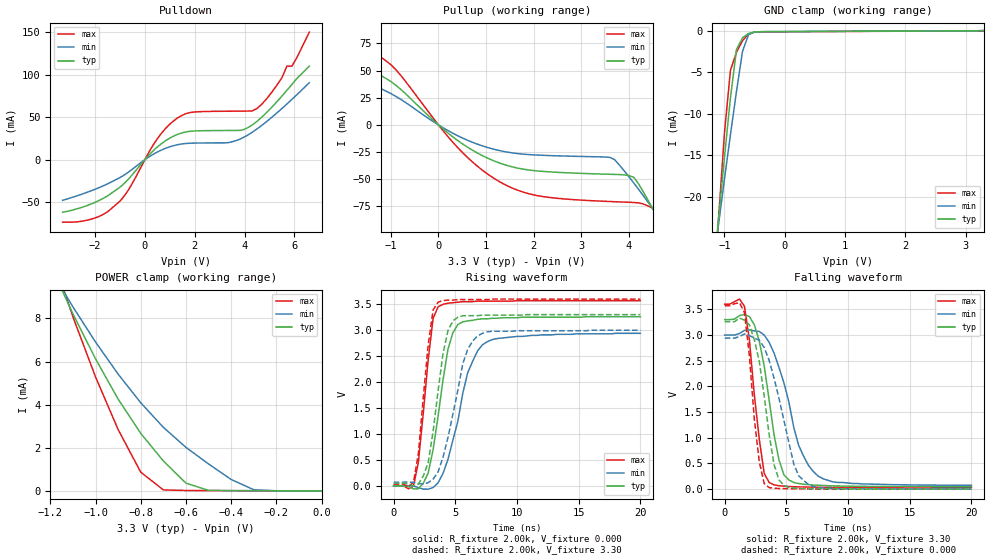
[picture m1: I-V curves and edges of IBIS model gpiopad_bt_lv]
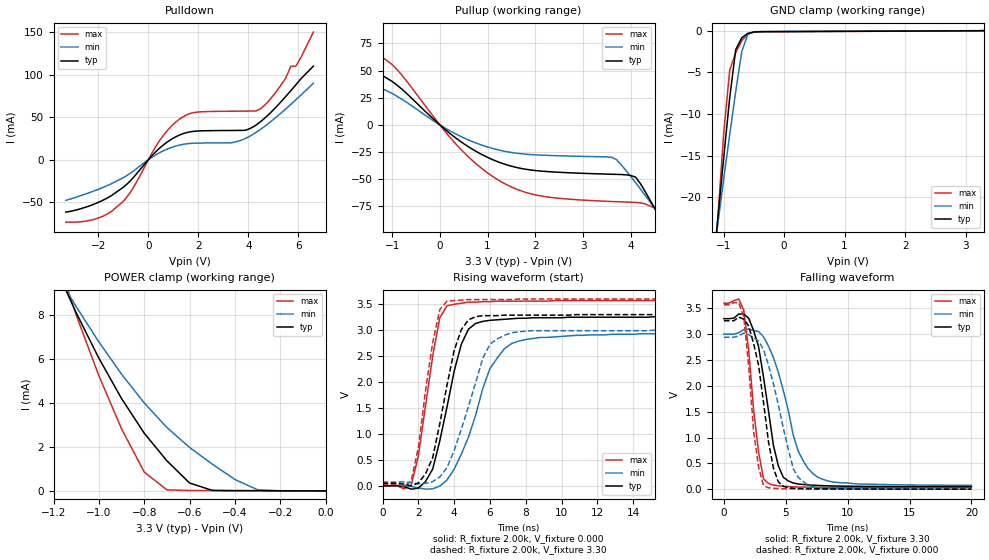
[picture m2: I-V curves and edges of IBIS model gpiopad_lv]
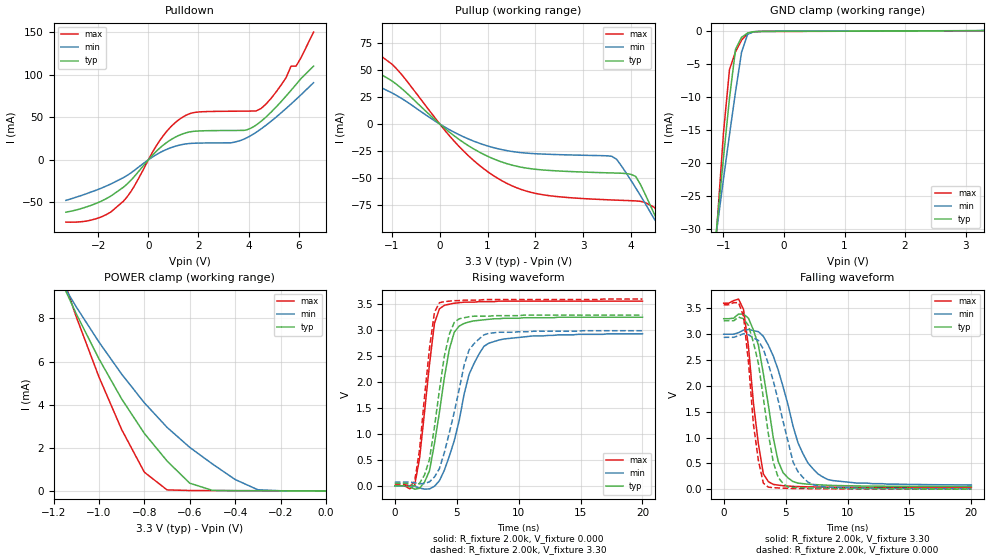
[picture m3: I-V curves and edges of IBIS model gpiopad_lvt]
| IBIS file m5603t00.ibs created by s2ibis2 version 1.1
| North Carolina State University Electronics Research Laboratory  1995
[IBIS ver]   2.1
[File name]   m5603t00.ibs
[File Rev]   1.2
[Date]   April 20, 2006
[Source]   Lars Snith
[Notes]   Property of Atmel Corporation
[Disclaimer] (C) Copyright ATMEL Norway 2006 Atmel Norway makes no warranty
                 for the use of its products, other than those explicitly
                 stated in the Company's standard warranty which is detailed in
                 Atmel's Terms and Conditions located on the Company's web
                 site. The Company assumes no responsibility for any errors
                 which may appear in this document. The user is granted this
                 license only to use the IBIS model and is not granted rights
                 to sell, load, rent, lease or license the IBIS model in whole
                 or in part, or in modified form to anyone other than user.
                 User may modify the IBIS model to suit its specific
                 applications but rights to derivative works and such
                 modifications shall belong to Atmel Norway. This IBIS model is
                 provided on an \"AS IS\" basis and Atmel Norway makes
                 absolutely no warranty with respect to the information
                 contained herein.
[Copyright]   Copyright (c) 2006 by ATMEL Norway
|   Component atmega2560_33_tqfp100
[Component]   atmega2560_33_tqfp100
[Manufacturer]   Atmel Corp.
[Package]
| variable   typ   min   max
R_pkg   19.00m   16.90m   21.20m
L_pkg   1.20nH   1.08nH   1.31nH
C_pkg   0.27pF   0.27pF   0.27pF
[Pin]  signal_name   model_name   R_pin   L_pin   C_pin
1   PG5   gpiopad_lv
| dg5  dg5   dummy
| eng5 eng5   dummy
2   PE0   gpiopad_lv
| de0  de0   dummy
| ene0 ene0   dummy
3   PE1   gpiopad_lv
| de1  de1   dummy
| ene1 ene1   dummy
4   PE2   gpiopad_lv
| de2  de2   dummy
| ene2 ene2   dummy
5   PE3   gpiopad_lv
| de3  de3   dummy
| ene3 ene3   dummy
6   PE4   gpiopad_lv
| de4  de4   dummy
| ene4 ene4   dummy
7   PE5   gpiopad_lv
| de5  de5   dummy
| ene5 ene5   dummy
8   PE6   gpiopad_lv
| de6  de6   dummy
| ene6 ene6   dummy
9   PE7   gpiopad_lv
| de7  de7   dummy
| ene7 ene7   dummy
10   VCC   POWER
11   GND   GND
12   PH0   gpiopad_lv
| dh0  dh0   dummy
| enh0 enh0   dummy
13   PH1   gpiopad_lv
| dh1  dh1   dummy
| enh1 enh1   dummy
14   PH2   gpiopad_lv
| dh2  dh2   dummy
| enh2 enh2   dummy
15   PH3   gpiopad_lv
| dh3  dh3   dummy
| enh3 enh3   dummy
16   PH4   gpiopad_lv
| dh4  dh4   dummy
| enh4 enh4   dummy
17   PH5   gpiopad_lv
| dh5  dh5   dummy
| enh5 enh5   dummy
18   PH6   gpiopad_lv
| dh6  dh6   dummy
| enh6 enh6   dummy
19   PB0   gpiopad_lv
| db0  db0   dummy
| enb0 enb0   dummy
20   PB1   gpiopad_lv
| db1  db1   dummy
| enb1 enb1   dummy
21   PB2   gpiopad_lv
| db2  db2   dummy
| enb2 enb2   dummy
22   PB3   gpiopad_lv
| db3  db3   dummy
| enb3 enb3   dummy
23   PB4   gpiopad_lv
| db4  db4   dummy
| enb4 enb4   dummy
24   PB5   gpiopad_lv
| db5  db5   dummy
| enb5 enb5   dummy
25   PB6   gpiopad_lv
| db6  db6   dummy
| enb6 enb6   dummy
26   PB7   gpiopad_lv
| db7  db7   dummy
| enb7 enb7   dummy
27   PH7   gpiopad_lv
| dh7  dh7   dummy
| enh7 enh7   dummy
28   PG3   gpiopad_lv
| dg3  dg3   dummy
| eng3 eng3   dummy
29   PG4   gpiopad_lv
| dg4  dg4   dummy
| eng4 eng4   dummy
30   RESET   gprstpad2
31   VCC   POWER
32   GND   GND
33   XTAL2   xtalpad_lv_ld_fullsw
| dx2  dx2   dummy
| enx2 enx2   dummy
34   XTAL1   xtalpad_lv_ld
| dx1  dx1   dummy
| enx1 enx1   dummy
35   PL0   gpiopad_lv
| dl0  dl0   dummy
| enl0 enl0   dummy
36   PL1   gpiopad_lv
| dl1  dl1   dummy
| enl1 enl1   dummy
37   PL2   gpiopad_lv
| dl2  dl2   dummy
| enl2 enl2   dummy
38   PL3   gpiopad_lv
| dl3  dl3   dummy
| enl3 enl3   dummy
39   PL4   gpiopad_lv
| dl4  dl4   dummy
| enl4 enl4   dummy
40   PL5   gpiopad_lv
| dl5  dl5   dummy
| enl5 enl5   dummy
41   PL6   gpiopad_lv
| dl6  dl6   dummy
| enl6 enl6   dummy
42   PL7   gpiopad_lv
| dl7  dl7   dummy
| enl7 enl7   dummy
43   PD0   gpiopad_lvt
| dd0  dd0   dummy
| end0 end0   dummy
44   PD1   gpiopad_lvt
| dd1  dd1   dummy
| end1 end1   dummy
45   PD2   gpiopad_lv
| dd2  dd2   dummy
| end2 end2   dummy
46   PD3   gpiopad_lv
| dd3  dd3   dummy
| end3 end3   dummy
47   PD4   gpiopad_lv
| dd4  dd4   dummy
| end4 end4   dummy
48   PD5   gpiopad_lv
| dd5  dd5   dummy
| end5 end5   dummy
49   PD6   gpiopad_lv
| dd6  dd6   dummy
| end6 end6   dummy
50   PD7   gpiopad_lv
| dd7  dd7   dummy
| end7 end7   dummy
51   PG0   gpiopad_lv
| dg0  dg0   dummy
| eng0 eng0   dummy
52   PG1   gpiopad_lv
| dg1  dg1   dummy
| eng1 eng1   dummy
53   PC0   gpiopad_lv
| dc0  dc0   dummy
| enc0 enc0   dummy
54   PC1   gpiopad_lv
| dc1  dc1   dummy
| enc1 enc1   dummy
55   PC2   gpiopad_lv
| dc2  dc2   dummy
| enc2 enc2   dummy
56   PC3   gpiopad_lv
| dc3  dc3   dummy
| enc3 enc3   dummy
57   PC4   gpiopad_lv
| dc4  dc4   dummy
| enc4 enc4   dummy
58   PC5   gpiopad_lv
| dc5  dc5   dummy
| enc5 enc5   dummy
59   PC6   gpiopad_lv
| dc6  dc6   dummy
| enc6 enc6   dummy
60   PC7   gpiopad_lv
| dc7  dc7   dummy
| enc7 enc7   dummy
61   VCC   POWER
62   GND   GND
63   PJ0   gpiopad_lv
| dj0  dj0   dummy
| enj0 enj0   dummy
64   PJ1   gpiopad_lv
| dj1  dj1   dummy
| enj1 enj1   dummy
65   PJ2   gpiopad_lv
| dj2  dj2   dummy
| enj2 enj2   dummy
66   PJ3   gpiopad_lv
| dj3  dj3   dummy
| enj3 enj3   dummy
67   PJ4   gpiopad_lv
| dj4  dj4   dummy
| enj4 enj4   dummy
68   PJ5   gpiopad_lv
| dj5  dj5   dummy
| enj5 enj5   dummy
69   PJ6   gpiopad_lv
| dj6  dj6   dummy
| enj6 enj6   dummy
70   PG2   gpiopad_lv
| dg2  dg2   dummy
| eng2 eng2   dummy
71   PA7   gpiopad_bt_lv
| da7  da7   dummy
| ena7 ena7   dummy
72   PA6   gpiopad_bt_lv
| da6  da6   dummy
| ena6 ena6   dummy
73   PA5   gpiopad_bt_lv
| da5  da5   dummy
| ena5 ena5   dummy
74   PA4   gpiopad_bt_lv
| da4  da4   dummy
| ena4 ena4   dummy
75   PA3   gpiopad_bt_lv
| da3  da3   dummy
| ena3 ena3   dummy
76   PA2   gpiopad_bt_lv
| da2  da2   dummy
| ena2 ena2   dummy
77   PA1   gpiopad_bt_lv
| da1  da1   dummy
| ena1 ena1   dummy
78   PA0   gpiopad_bt_lv
| da0  da0   dummy
| ena0 ena0   dummy
79   PJ7   gpiopad_lv
| dj7  dj7   dummy
| enj7 enj7   dummy
80   VCC   POWER
81   GND   GND
82   PK7   gpiopad_lv
| dk7  dk7   dummy
| enk7 enk7   dummy
83   PK6   gpiopad_lv
| dk6  dk6   dummy
| enk6 enk6   dummy
84   PK5   gpiopad_lv
| dk5  dk5   dummy
| enk5 enk5   dummy
85   PK4   gpiopad_lv
| dk4  dk4   dummy
| enk4 enk4   dummy
86   PK3   gpiopad_lv
| dk3  dk3   dummy
| enk3 enk3   dummy
87   PK2   gpiopad_lv
| dk2  dk2   dummy
| enk2 enk2   dummy
88   PK1   gpiopad_lv
| dk1  dk1   dummy
| enk1 enk1   dummy
89   PK0   gpiopad_lv
| dk0  dk0   dummy
| enk0 enk0   dummy
90   PF7   gpiopad_lv
| df7  df7   dummy
| enf7 enf7   dummy
91   PF6   gpiopad_lv
| df6  df6   dummy
| enf6 enf6   dummy
92   PF5   gpiopad_lv
| df5  df5   dummy
| enf5 enf5   dummy
93   PF4   gpiopad_lv
| df4  df4   dummy
| enf4 enf4   dummy
94   PF3   gpiopad_lv
| df3  df3   dummy
| enf3 enf3   dummy
95   PF2   gpiopad_lv
| df2  df2   dummy
| enf2 enf2   dummy
96   PF1   gpiopad_lv
| df1  df1   dummy
| enf1 enf1   dummy
97   PF0   gpiopad_lv
| df0  df0   dummy
| enf0 enf0   dummy
98   AREF   gpiopad_lv_ld
| darefdaref   dummy
| enarfenarf   dummy
99   GND   GND
100   AVCC   POWER
| Models and submodels in the file (7): gpiopad_bt_lv (I/O), gpiopad_lv (I/O), gpiopad_lvt (I/O), gpiopad_lv_ld (I/O), xtalpad_lv_ld (I/O), xtalpad_lv_ld_fullsw (I/O), gprstpad2 (Input)
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|   Model gpiopad_bt_lv
[Model]   gpiopad_bt_lv
Model_type   I/O
Polarity   Non-Inverting
Enable   Active-High
Vinl =   0.99V
Vinh =   2.31V
Vmeas =   1.65V
Cref =  50.00pF
C_comp   3.86pF   3.86pF   4.44pF
[Temperature Range]   27.00   0.12k   -55.00
[Voltage Range]   3.30V   3.00V   3.60V
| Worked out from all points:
|   slope of the pulldown table from 0 to 0.495 V, typ, clamps not added: 33.6 ohm
|   slope of the pullup table from 0 to 0.495 V, typ, clamps not added: 28.9 ohm
|   GND clamp passes 1 mA (typ) near -0.71 V on its own axis
|   POWER clamp passes 1 mA (typ) near -0.66 V on its own axis
|   rising waveform, R_fixture 2.00k, V_fixture 0.000: 20-80 % time 1.23ns typ, 1.83ns min, 902ps max; typ from 0 V to 3.26 V
|   rising waveform, R_fixture 2.00k, V_fixture 3.30: 20-80 % time 1.12ns typ, 1.58ns min, 850ps max; typ from 0.048 V to 3.3 V
|   falling waveform, R_fixture 2.00k, V_fixture 3.30: 20-80 % time 1.3ns typ, 2.03ns min, 931ps max; typ from 3.3 V to 0.048 V
|   falling waveform, R_fixture 2.00k, V_fixture 0.000: 20-80 % time 1.2ns typ, 1.73ns min, 838ps max; typ from 3.26 V to 0 V
[Pulldown]
| voltage   I(typ)   I(min)   I(max)
-3.3V     -61.6mA    -47.6mA    -73.2mA
-1.9V     -48.7mA    -33.49mA   -67.3mA
-1V       -32.23mA   -20.9mA    -48.64mA
500mV     14.99mA    9.1mA      24.63mA
1.4V      30.77mA    18.2mA     50.7mA
3.4V      34.44mA    20.45mA    57.06mA
3.9V      34.88mA    25.4mA     57.19mA
4.5V      45.14mA    36.23mA    60.2mA
5.3V      68.25mA    55.08mA    87.75mA
5.7V      81.59mA    65.54mA    110mA
5.9V      88.49mA    70.94mA    110mA
6.6V      110mA      90.54mA    150mA
[Pullup]
| voltage   I(typ)   I(min)   I(max)
-3.3V     73.23mA    62mA       90.4mA
-2.3V     66.39mA    52.27mA    85.79mA
-1.5V     53.29mA    39.65mA    72.08mA
-900mV    36.66mA    26.4mA     51.06mA
600mV     -20.16mA   -13.88mA   -29.46mA
1.6V      -39.1mA    -26.03mA   -59mA
3.6V      -45.39mA   -29.87mA   -70.47mA
4.1V      -48.1mA    -53.27mA   -71.32mA
4.5V      -76.81mA   -77mA      -76.49mA
4.7V      -92.95mA   -89.34mA   -94.94mA
4.9V      -110mA     -100mA     -120mA
6.6V      -260mA     -210mA     -320mA
[GND_clamp]
| voltage   I(typ)   I(min)   I(max)
-3.3V     -210mA     -160mA     -280mA
-1.2V     -30.58mA   -29.21mA   -33.78mA
-1.1V     -22.87mA   -23.5mA    -22.92mA
-1V       -15.34mA   -17.92mA   -12.38mA
-900mV    -8.09mA    -12.52mA   -4.76mA
-800mV    -2.27mA    -7.31mA    -2.61mA
-700mV    -840uA     -2.49mA    -1.19mA
-600mV    -320uA     -460uA     -400uA
-500mV    -150uA     -160uA     -160uA
-400mV    -120uA     -110uA     -130uA
3.3V      72.7pA     53.61uA    -9.75uA
[POWER_clamp]
| voltage   I(typ)   I(min)   I(max)
-3.3V     76.97mA    61.2mA     100mA
-1.2V     10.5mA     10.29mA    11.2mA
-1.1V     8.22mA     8.54mA     8.08mA
-1V       6.13mA     6.91mA     5.29mA
-900mV    4.26mA     5.42mA     2.85mA
-800mV    2.67mA     4.09mA     870uA
-700mV    1.39mA     2.95mA     47.81uA
-600mV    360uA      2.02mA     20.41uA
-500mV    24.68uA    1.25mA     16.27uA
-400mV    12.97uA    530uA      13.01uA
-300mV    9.58uA     53.61uA    9.75uA
0V        72.7pA     1.8nA      35.2pA
[Ramp]
| variable   typ   min   max
dV/dt_r   1.95/1.22n   1.76/1.83n   2.14/0.71n
dV/dt_f   1.95/1.25n   1.76/2.04n   2.14/0.76n
R_load = 2.00k
[Rising Waveform]
R_fixture = 2.00k
V_fixture = 0.000
V_fixture_min = 0.000
V_fixture_max = 0.000
| time   V(typ)   V(min)   V(max)
0s        0V         0V         0V
1.6ns     -57.44mV   -1.85mV    -6.29mV
2ns       -54.02mV   -31.46mV   450mV
2.8ns     250mV      -62.23mV   2.43V
3.2ns     700mV      -30.56mV   3.23V
3.6ns     1.34V      57.67mV    3.45V
4.8ns     2.95V      880mV      3.53V
6ns       3.18V      2.18V      3.55V
7.2ns     3.22V      2.72V      3.56V
20ns      3.26V      2.94V      3.57V
[Rising Waveform]
R_fixture = 2.00k
V_fixture = 3.30
V_fixture_min = 3.00
V_fixture_max = 3.60
| time   V(typ)   V(min)   V(max)
0s        47.89mV    71.43mV    31.59mV
1.6ns     85.86uV    68.63mV    68.94mV
2ns       38.09mV    45.55mV    610mV
2.8ns     450mV      63.94mV    2.72V
3.6ns     1.83V      270mV      3.54V
4ns       2.55V      550mV      3.57V
4.8ns     3.18V      1.38V      3.58V
5.6ns     3.28V      2.35V      3.59V
6.8ns     3.28V      2.89V      3.59V
20ns      3.3V       3V         3.6V
[Falling Waveform]
R_fixture = 2.00k
V_fixture = 3.30
V_fixture_min = 3.00
V_fixture_max = 3.60
| time   V(typ)   V(min)   V(max)
0s        3.3V       3V         3.6V
1.6ns     3.4V       3.09V      3.56V
2ns       3.36V      3.1V       2.91V
2.8ns     2.89V      3.07V      980mV
3.2ns     2.4V       3V         310mV
3.6ns     1.74V      2.86V      130mV
4.8ns     280mV      2.07V      58.27mV
6ns       110mV      850mV      44.46mV
7.6ns     75.97mV    250mV      37.58mV
20ns      48.4mV     74.75mV    31.72mV
[Falling Waveform]
R_fixture = 2.00k
V_fixture = 0.000
V_fixture_min = 0.000
V_fixture_max = 0.000
| time   V(typ)   V(min)   V(max)
0s        3.26V      2.94V      3.57V
1.6ns     3.29V      3.02V      3.44V
2ns       3.2V       2.99V      2.6V
2.4ns     2.91V      2.94V      1.37V
2.8ns     2.49V      2.9V       540mV
3.6ns     1.07V      2.51V      30.5mV
4.4ns     180mV      1.77V      13.18mV
5.6ns     19.4mV     490mV      7.66mV
6.8ns     11.59mV    90.22mV    4.75mV
20ns      310uV      980uV      120uV
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|   Model gpiopad_lv
[Model]   gpiopad_lv
Model_type   I/O
Polarity   Non-Inverting
Enable   Active-High
Vinl =   0.99V
Vinh =   2.31V
Vmeas =   1.65V
Cref =  50.00pF
C_comp   3.86pF   3.86pF   4.44pF
[Temperature Range]   27.00   0.12k   -55.00
[Voltage Range]   3.30V   3.00V   3.60V
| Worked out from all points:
|   slope of the pulldown table from 0 to 0.495 V, typ, clamps not added: 33.5 ohm
|   slope of the pullup table from 0 to 0.495 V, typ, clamps not added: 28.9 ohm
|   GND clamp passes 1 mA (typ) near -0.71 V on its own axis
|   POWER clamp passes 1 mA (typ) near -0.66 V on its own axis
|   rising waveform, R_fixture 2.00k, V_fixture 0.000: 20-80 % time 1.26ns typ, 1.81ns min, 933ps max; typ from 0 V to 3.26 V
|   rising waveform, R_fixture 2.00k, V_fixture 3.30: 20-80 % time 1.14ns typ, 1.59ns min, 877ps max; typ from 0.048 V to 3.3 V
|   falling waveform, R_fixture 2.00k, V_fixture 3.30: 20-80 % time 1.28ns typ, 1.98ns min, 884ps max; typ from 3.3 V to 0.048 V
|   falling waveform, R_fixture 2.00k, V_fixture 0.000: 20-80 % time 1.21ns typ, 1.75ns min, 832ps max; typ from 3.26 V to 0 V
[Pulldown]
| voltage   I(typ)   I(min)   I(max)
-3.3V     -61.5mA    -47.6mA    -73.2mA
-1.9V     -48.71mA   -33.44mA   -67.3mA
-1V       -32.22mA   -20.91mA   -48.63mA
500mV     14.99mA    9.09mA     24.63mA
1.4V      30.77mA    18.2mA     50.7mA
3.4V      34.44mA    20.44mA    57.06mA
3.9V      34.87mA    25.29mA    57.19mA
4.5V      45.02mA    36.01mA    60.17mA
5.3V      67.97mA    54.71mA    87.56mA
5.7V      81.23mA    65.08mA    110mA
5.9V      88.09mA    70.44mA    110mA
6.6V      110mA      89.91mA    150mA
[Pullup]
| voltage   I(typ)   I(min)   I(max)
-3.3V     73.26mA    61.97mA    90.3mA
-2.3V     66.32mA    52.27mA    85.8mA
-1.5V     53.29mA    39.65mA    72.08mA
-900mV    36.66mA    26.4mA     51.05mA
600mV     -20.16mA   -13.88mA   -29.46mA
1.6V      -39.09mA   -26.03mA   -59mA
3.6V      -45.39mA   -29.85mA   -70.47mA
4.1V      -48.09mA   -53.18mA   -71.32mA
4.5V      -76.74mA   -76.83mA   -76.49mA
4.7V      -92.84mA   -89.13mA   -94.91mA
4.9V      -110mA     -100mA     -120mA
6.6V      -260mA     -210mA     -320mA
[GND_clamp]
| voltage   I(typ)   I(min)   I(max)
-3.3V     -210mA     -160mA     -280mA
-1.2V     -30.51mA   -29.1mA    -33.74mA
-1.1V     -22.82mA   -23.41mA   -22.9mA
-1V       -15.31mA   -17.85mA   -12.37mA
-900mV    -8.07mA    -12.47mA   -4.75mA
-800mV    -2.26mA    -7.27mA    -2.61mA
-700mV    -840uA     -2.47mA    -1.19mA
-600mV    -310uA     -450uA     -400uA
-500mV    -150uA     -150uA     -160uA
-400mV    -120uA     -100uA     -130uA
3.3V      66.98pA    51.32uA    -9.62uA
[POWER_clamp]
| voltage   I(typ)   I(min)   I(max)
-3.3V     76.44mA    60.63mA    100mA
-1.2V     10.39mA    10.13mA    11.12mA
-1.1V     8.12mA     8.4mA      8.02mA
-1V       6.05mA     6.79mA     5.25mA
-900mV    4.21mA     5.32mA     2.83mA
-800mV    2.63mA     4.01mA     860uA
-700mV    1.37mA     2.89mA     47.27uA
-600mV    360uA      1.98mA     20.14uA
-500mV    23.78uA    1.22mA     16.05uA
-400mV    12.49uA    520uA      12.83uA
-300mV    9.23uA     51.32uA    9.62uA
0V        66.98pA    1.79nA     29.01pA
[Ramp]
| variable   typ   min   max
dV/dt_r   1.95/1.20n   1.76/1.86n   2.14/0.77n
dV/dt_f   1.95/1.23n   1.76/2.00n   2.14/0.76n
R_load = 2.00k
[Rising Waveform]
R_fixture = 2.00k
V_fixture = 0.000
V_fixture_min = 0.000
V_fixture_max = 0.000
| time   V(typ)   V(min)   V(max)
0s        0V         0V         0V
1.6ns     -66.01mV   -11.99mV   9.45mV
2ns       -46.91mV   -43.68mV   570mV
2.8ns     320mV      -60.31mV   2.5V
3.2ns     870mV      -5.7mV     3.24V
3.6ns     1.52V      110mV      3.47V
4.8ns     3.02V      940mV      3.54V
6ns       3.19V      2.26V      3.55V
7.2ns     3.22V      2.74V      3.56V
20ns      3.26V      2.94V      3.57V
[Rising Waveform]
R_fixture = 2.00k
V_fixture = 3.30
V_fixture_min = 3.00
V_fixture_max = 3.60
| time   V(typ)   V(min)   V(max)
0s        47.89mV    71.43mV    31.59mV
1.6ns     -3.96mV    59.91mV    88.03mV
2.8ns     540mV      78.61mV    2.76V
3.2ns     1.2V       170mV      3.4V
3.6ns     1.94V      350mV      3.56V
4ns       2.61V      680mV      3.57V
4.8ns     3.2V       1.53V      3.59V
5.6ns     3.28V      2.46V      3.59V
6.8ns     3.29V      2.9V       3.59V
20ns      3.3V       3V         3.6V
[Falling Waveform]
R_fixture = 2.00k
V_fixture = 3.30
V_fixture_min = 3.00
V_fixture_max = 3.60
| time   V(typ)   V(min)   V(max)
0s        3.3V       3V         3.6V
1.6ns     3.39V      3.09V      3.47V
2.8ns     2.76V      3.05V      720mV
3.2ns     2.17V      2.95V      200mV
3.6ns     1.52V      2.77V      110mV
4ns       850mV      2.55V      79.08mV
4.8ns     230mV      1.91V      55.96mV
6ns       99.86mV    740mV      42.77mV
7.6ns     71.85mV    230mV      36.6mV
20ns      48.18mV    74.45mV    31.6mV
[Falling Waveform]
R_fixture = 2.00k
V_fixture = 0.000
V_fixture_min = 0.000
V_fixture_max = 0.000
| time   V(typ)   V(min)   V(max)
0s        3.26V      2.94V      3.57V
1.2ns     3.33V      2.97V      3.61V
1.6ns     3.29V      3.02V      3.34V
2.4ns     2.82V      2.93V      1.12V
3.2ns     1.68V      2.7V       70.18mV
3.6ns     920mV      2.4V       26.58mV
4.4ns     140mV      1.63V      12.07mV
5.6ns     17.65mV    400mV      5.99mV
6.8ns     9.23mV     78.48mV    3.71mV
20ns      96.93uV    790uV      1.18uV
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|   Model gpiopad_lvt
[Model]   gpiopad_lvt
Model_type   I/O
Polarity   Non-Inverting
Enable   Active-High
Vinl =   0.99V
Vinh =   2.31V
Vmeas =   1.65V
Cref =  50.00pF
C_comp   4.09pF   4.08pF   4.65pF
[Temperature Range]   27.00   0.12k   -55.00
[Voltage Range]   3.30V   3.00V   3.60V
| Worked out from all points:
|   slope of the pulldown table from 0 to 0.495 V, typ, clamps not added: 33.5 ohm
|   slope of the pullup table from 0 to 0.495 V, typ, clamps not added: 28.9 ohm
|   GND clamp passes 1 mA (typ) near -0.70 V on its own axis
|   POWER clamp passes 1 mA (typ) near -0.66 V on its own axis
|   rising waveform, R_fixture 2.00k, V_fixture 0.000: 20-80 % time 1.3ns typ, 1.95ns min, 975ps max; typ from 0 V to 3.25 V
|   rising waveform, R_fixture 2.00k, V_fixture 3.30: 20-80 % time 1.21ns typ, 1.69ns min, 919ps max; typ from 0.048 V to 3.29 V
|   falling waveform, R_fixture 2.00k, V_fixture 3.30: 20-80 % time 1.36ns typ, 2.21ns min, 962ps max; typ from 3.3 V to 0.054 V
|   falling waveform, R_fixture 2.00k, V_fixture 0.000: 20-80 % time 1.28ns typ, 1.84ns min, 889ps max; typ from 3.26 V to 0.006 V
[Pulldown]
| voltage   I(typ)   I(min)   I(max)
-3.3V     -61.5mA    -47.7mA    -73.2mA
-1.9V     -48.8mA    -33.5mA    -67.3mA
-1V       -32.22mA   -20.92mA   -48.64mA
500mV     14.99mA    9.09mA     24.63mA
1.4V      30.77mA    18.2mA     50.7mA
3.4V      34.44mA    20.46mA    57.06mA
3.9V      34.88mA    25.4mA     57.19mA
4.5V      45.14mA    36.24mA    60.2mA
5.3V      68.25mA    55.09mA    87.75mA
5.7V      81.59mA    65.54mA    110mA
5.9V      88.49mA    70.94mA    110mA
6.6V      110mA      90.55mA    150mA
[Pullup]
| voltage   I(typ)   I(min)   I(max)
-3.3V     73.22mA    62mA       90.3mA
-2.3V     66.38mA    52.27mA    85.79mA
-1.5V     53.29mA    39.65mA    72.08mA
-900mV    36.66mA    26.4mA     51.06mA
500mV     -17.27mA   -11.92mA   -25.17mA
1.5V      -38mA      -25.4mA    -57.12mA
2.2V      -42.77mA   -27.95mA   -65.93mA
3.6V      -45.39mA   -29.96mA   -70.47mA
4.1V      -48.66mA   -59.3mA    -71.33mA
4.5V      -84.63mA   -88.97mA   -77.63mA
4.7V      -100mA     -100mA     -100mA
6.6V      -310mA     -260mA     -380mA
[GND_clamp]
| voltage   I(typ)   I(min)   I(max)
-3.3V     -260mA     -200mA     -350mA
-1.2V     -38.4mA    -36.69mA   -42.33mA
-1.1V     -28.75mA   -29.53mA   -28.77mA
-1V       -19.36mA   -22.54mA   -15.6mA
-900mV    -10.25mA   -15.78mA   -5.89mA
-800mV    -2.83mA    -9.26mA    -3.19mA
-700mV    -1mA       -3.24mA    -1.43mA
-600mV    -350uA     -550uA     -450uA
-500mV    -150uA     -170uA     -170uA
-300mV    -110uA     -93.79uA   -120uA
3.3V      86.18pA    54.02uA    -9.62uA
[POWER_clamp]
| voltage   I(typ)   I(min)   I(max)
-3.3V     76.98mA    61.2mA     100mA
-1.2V     10.51mA    10.3mA     11.2mA
-1.1V     8.22mA     8.54mA     8.08mA
-1V       6.13mA     6.91mA     5.29mA
-900mV    4.27mA     5.42mA     2.85mA
-800mV    2.67mA     4.09mA     870uA
-700mV    1.39mA     2.95mA     47.56uA
-600mV    360uA      2.02mA     20.14uA
-500mV    24.32uA    1.25mA     16.05uA
-400mV    12.5uA     530uA      12.83uA
-300mV    9.23uA     54.02uA    9.62uA
0V        86.19pA    2.16nA     43.32pA
[Ramp]
| variable   typ   min   max
dV/dt_r   1.95/1.27n   1.76/1.95n   2.14/0.81n
dV/dt_f   1.95/1.34n   1.75/2.18n   2.14/0.81n
R_load = 2.00k
[Rising Waveform]
R_fixture = 2.00k
V_fixture = 0.000
V_fixture_min = 0.000
V_fixture_max = 0.000
| time   V(typ)   V(min)   V(max)
0s        0V         0V         0V
1.6ns     -64.35mV   -11.37mV   5.13mV
2ns       -47.66mV   -42.2mV    530mV
2.8ns     290mV      -59.65mV   2.34V
3.2ns     810mV      -8.62mV    3.13V
3.6ns     1.41V      96.72mV    3.41V
4.8ns     2.96V      870mV      3.52V
6ns       3.16V      2.15V      3.54V
7.2ns     3.2V       2.69V      3.55V
20ns      3.25V      2.93V      3.56V
[Rising Waveform]
R_fixture = 2.00k
V_fixture = 3.30
V_fixture_min = 3.00
V_fixture_max = 3.60
| time   V(typ)   V(min)   V(max)
0s        47.89mV    71.43mV    31.59mV
1.6ns     -2.86mV    60.47mV    82.34mV
2ns       50.33mV    40.19mV    700mV
2.8ns     510mV      76.37mV    2.65V
3.2ns     1.13V      170mV      3.34V
3.6ns     1.84V      330mV      3.53V
4.8ns     3.15V      1.42V      3.57V
6ns       3.26V      2.62V      3.58V
7.2ns     3.27V      2.91V      3.59V
20ns      3.29V      2.99V      3.6V
[Falling Waveform]
R_fixture = 2.00k
V_fixture = 3.30
V_fixture_min = 3.00
V_fixture_max = 3.60
| time   V(typ)   V(min)   V(max)
0s        3.3V       3V         3.6V
1.6ns     3.39V      3.08V      3.48V
2.8ns     2.79V      3.05V      880mV
3.2ns     2.24V      2.96V      300mV
3.6ns     1.64V      2.79V      150mV
4.4ns     540mV      2.31V      81.37mV
4.8ns     320mV      1.98V      69.22mV
6ns       120mV      900mV      53.15mV
7.6ns     88.43mV    300mV      45.25mV
20ns      53.89mV    84.25mV    34.87mV
[Falling Waveform]
R_fixture = 2.00k
V_fixture = 0.000
V_fixture_min = 0.000
V_fixture_max = 0.000
| time   V(typ)   V(min)   V(max)
0s        3.26V      2.94V      3.57V
1.2ns     3.33V      2.97V      3.61V
1.6ns     3.3V       3.01V      3.35V
2.4ns     2.84V      2.93V      1.26V
2.8ns     2.44V      2.88V      560mV
3.6ns     1.08V      2.43V      42.55mV
4.4ns     230mV      1.72V      26.78mV
5.6ns     38.87mV    530mV      16.57mV
6.8ns     27.21mV    140mV      12.75mV
20ns      5.57mV     9.91mV     3.18mV
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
